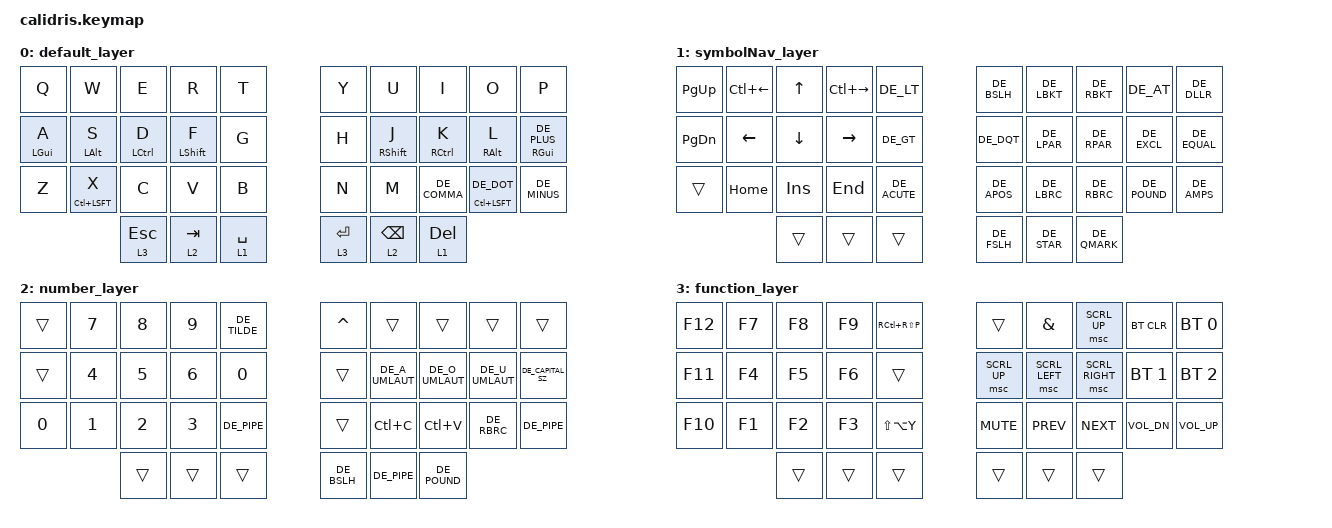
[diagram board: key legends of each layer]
/*
 * Copyright (c) 2020 The ZMK Contributors
 *
 * SPDX-License-Identifier: MIT
 */

#include <dt-bindings/zmk/bt.h>
#include <behaviors.dtsi>
#include <dt-bindings/zmk/keys.h>
#include <dt-bindings/zmk/pointing.h> 
#include "keys_de.h"
#include <dt-bindings/zmk/outputs.h>

/ {
	behaviors {
        // Für Shift (F/J): Schnell (130ms)
        hm_fast: homerow_mods_fast {
            compatible = "zmk,behavior-hold-tap";
            #binding-cells = <2>;
            tapping-term-ms = <130>;
            quick-tap-ms = <0>;
            flavor = "balanced";
            bindings = <&kp>, <&kp>;
        };

        // Standard Homerow Mods (D/S/K/L): Dein Standard (200ms)
        hm: homerow_mods_std {
            compatible = "zmk,behavior-hold-tap";
            #binding-cells = <2>;
            tapping-term-ms = <200>;
            quick-tap-ms = <0>;
            flavor = "balanced";
            bindings = <&kp>, <&kp>;
        };

        // Für GUI (A/Plus): Langsam (700ms)
        hm_slow: homerow_mods_slow {
            compatible = "zmk,behavior-hold-tap";
            #binding-cells = <2>;
            tapping-term-ms = <700>;
            quick-tap-ms = <0>;
            flavor = "balanced";
            bindings = <&kp>, <&kp>;
        };
    };
	
	combos {
		compatible = "zmk,combos";
		timeout-ms = <50>;
	
		combo_caps {
			key-positions = <14 15>;
			bindings = <&kp CAPS>;
		};
	
		combo_space {
			key-positions = <15 16>;
			bindings = <&kp SPACE>;
		};
	
		combo_enter {
			key-positions = <12 13>;
			bindings = <&kp ENTER>;
		};
	
		combo_redo {
			key-positions = <1 2>;
			bindings = <&kp LC(Y)>;
		};
	
		combo_undo {
			key-positions = <11 12>;
			bindings = <&kp LC(Z)>;
		};
};

 lt_hp: layer_tap_hold_preferred {
            compatible = "zmk,behavior-hold-tap";
            #binding-cells = <2>;
            flavor = "balanced"; 
            tapping-term-ms = <200>;
            quick-tap-ms = <175>;        // <--- DIES IST WICHTIG FÜR WIEDERHOLUNG
            bindings = <&mo>, <&kp>;
        };
	
//	Linke Hälfte                Rechte Hälfte
// 0  1  2  3  4                5  6  7  8  9
//10 11 12 13 14               15 16 17 18 19
//20 21 22 23 24               25 26 27 28 29
//        30 31 32         33 34 35
//          (Daumen)         (Daumen)

	keymap {
        compatible = "zmk,keymap";
		
		default_layer {
            bindings = <
				&kp Q        	&kp W        	&kp E       &kp R        		&kp T   &kp Y       &kp U        		&kp I        	&kp O        		&kp P
				&hm_slow LGUI A &hm LALT S 		&hm LCTRL D &hm_fast LSHFT F 	&kp G   &kp H 		&hm_fast RSHFT J 	&hm RCTRL K 	&hm RALT L 			&hm_slow RGUI DE_PLUS
				&kp Z   		&mt LC(LSFT) X  &kp C     	&kp V        		&kp B   &kp N       &kp M        		&kp DE_COMMA 	&mt LC(LSFT) DE_DOT &kp DE_MINUS
								&lt 3 ESCAPE  &lt_hp 2 TAB  &lt_hp 1 SPACE            		&lt_hp 3 ENTER  &lt_hp 2 BACKSPACE  &lt_hp 1 DELETE
            >;
         };
		 
         symbolNav_layer {
            bindings = <
			   &kp PAGE_UP 	&kp LC(LEFT)	&kp UP 		&kp LC(RIGHT) 	&kp DE_LT   	&kp DE_BSLH   &kp DE_LBKT &kp DE_RBKT   &kp DE_AT 		&kp DE_DLLR 
			   &kp PAGE_DOWN &kp LEFT 		&kp DOWN 	&kp RIGHT 		&kp DE_GT 		&kp DE_DQT    &kp DE_LPAR &kp DE_RPAR 	&kp DE_EXCL 	&kp DE_EQUAL 	
			   &trans      	&kp HOME 		&kp INSERT 	&kp END 		&kp DE_ACUTE    &kp DE_APOS   &kp DE_LBRC &kp DE_RBRC  	&kp DE_POUND    &kp DE_AMPS 
												&trans     &trans       &trans      &kp DE_FSLH  	&kp DE_STAR   &kp DE_QMARK
            >;
        };

        number_layer {
            bindings = <
			   &trans   &kp N7 &kp N8   &kp N9   &kp DE_TILDE   	&kp CARET 		&trans  &trans 	&trans				&trans
			   &trans   &kp N4 &kp N5   &kp N6   &kp N0      		&trans 			&kp DE_A_UMLAUT &kp DE_O_UMLAUT   	&kp DE_U_UMLAUT  	&kp DE_CAPITAL_SZ 
			   &kp N0   &kp N1 &kp N2   &kp N3   &kp DE_PIPE     	&trans 			&kp LC(C)  		&kp LC(V) 			&kp DE_RBRC 		&kp DE_PIPE 
										 &trans &trans   &trans   	&kp DE_BSLH    	&kp DE_PIPE    	&kp DE_POUND 
            >;
        };
				
        function_layer {
            bindings = <
			   &kp F12   &kp F7 &kp F8 	 &kp F9   &kp RC(RS(P))   &trans 		&kp AMPS  		&msc SCRL_UP 	&bt BT_CLR  		&bt BT_SEL 0
			   &kp F11   &kp F4 &kp F5   &kp F6   &trans      	  &msc SCRL_UP 	&msc SCRL_LEFT 	&msc SCRL_RIGHT	&bt BT_SEL 1  		&bt BT_SEL 2 
			   &kp F10   &kp F1 &kp F2   &kp F3   &kp LS(LA(Y))   &kp C_MUTE 	&kp C_PREV  	&kp C_NEXT  	&kp C_VOL_DN 	&kp C_VOL_UP
										 &trans &trans   &trans   &trans   &trans    &trans 
            >;
        };				
        };
};
